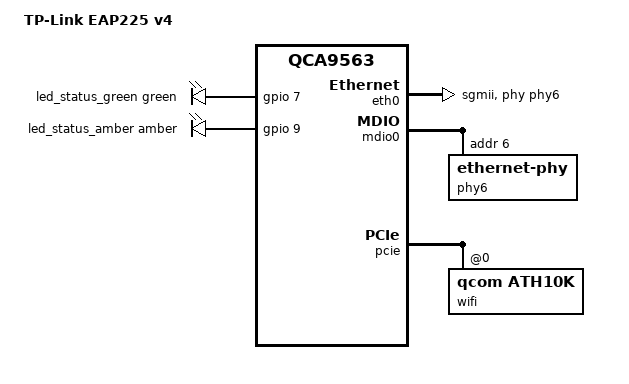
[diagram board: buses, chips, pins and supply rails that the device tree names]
// SPDX-License-Identifier: GPL-2.0-or-later OR MIT

#include <dt-bindings/leds/common.h>

#include "qca9563_tplink_eap2x5-1port.dtsi"

/ {
	compatible = "tplink,eap225-v4", "qca,qca9563";
	model = "TP-Link EAP225 v4";

	aliases {
		led-boot = &led_status_green;
		led-failsafe = &led_status_amber;
		led-running = &led_status_green;
		led-upgrade = &led_status_amber;
	};

	leds {
		compatible = "gpio-leds";

		led_status_green: status_green {
			function = LED_FUNCTION_STATUS;
			color = <LED_COLOR_ID_GREEN>;
			gpios = <&gpio 7 GPIO_ACTIVE_HIGH>;
			default-state = "on";
		};

		led_status_amber: status_amber {
			function = LED_FUNCTION_STATUS;
			color = <LED_COLOR_ID_AMBER>;
			gpios = <&gpio 9 GPIO_ACTIVE_HIGH>;
		};
	};
};

&art {
	nvmem-layout {
		compatible = "fixed-layout";
		#address-cells = <1>;
		#size-cells = <1>;

		precalibration_ath10k: pre-calibration@5000 {
			reg = <0x5000 0x2f20>;
		};
	};
};

&eth0 {
	phy-handle = <&phy6>;
	phy-mode = "sgmii";
};

&mdio0 {
	phy6: ethernet-phy@6 {
		reg = <6>;
	};
};

&pcie {
	wifi@0,0 {
		compatible = "qcom,ath10k";
		reg = <0 0 0 0 0>;

		nvmem-cells = <&macaddr_info_8 1>, <&precalibration_ath10k>;
		nvmem-cell-names = "mac-address", "pre-calibration";
	};
};
